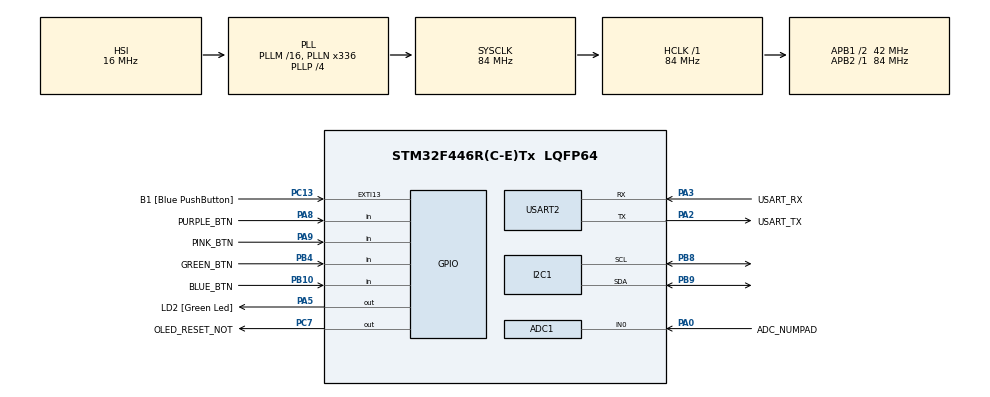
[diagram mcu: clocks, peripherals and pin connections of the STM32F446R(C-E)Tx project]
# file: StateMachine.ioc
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ADC1.Channel-0\#ChannelRegularConversion=ADC_CHANNEL_0
ADC1.NbrOfConversionFlag=1
ADC1.Rank-0\#ChannelRegularConversion=1
ADC1.SamplingTime-0\#ChannelRegularConversion=ADC_SAMPLETIME_3CYCLES
ADC1.ScanConvMode=DISABLE
ADC1.master=1
Dma.ADC1.0.Direction=DMA_PERIPH_TO_MEMORY
Dma.ADC1.0.FIFOMode=DMA_FIFOMODE_DISABLE
Dma.ADC1.0.Instance=DMA2_Stream0
Dma.ADC1.0.MemDataAlignment=DMA_MDATAALIGN_HALFWORD
Dma.ADC1.0.MemInc=DMA_MINC_ENABLE
Dma.ADC1.0.Mode=DMA_NORMAL
Dma.ADC1.0.PeriphDataAlignment=DMA_PDATAALIGN_HALFWORD
Dma.ADC1.0.PeriphInc=DMA_PINC_DISABLE
Dma.ADC1.0.Priority=DMA_PRIORITY_LOW
Dma.Request0=ADC1
Dma.Request1=USART2_RX
Dma.USART2_RX.1.Direction=DMA_PERIPH_TO_MEMORY
Dma.USART2_RX.1.FIFOMode=DMA_FIFOMODE_DISABLE
Dma.USART2_RX.1.Instance=DMA1_Stream5
Dma.USART2_RX.1.MemDataAlignment=DMA_MDATAALIGN_BYTE
Dma.USART2_RX.1.MemInc=DMA_MINC_ENABLE
Dma.USART2_RX.1.Mode=DMA_CIRCULAR
Dma.USART2_RX.1.PeriphDataAlignment=DMA_PDATAALIGN_BYTE
Dma.USART2_RX.1.PeriphInc=DMA_PINC_DISABLE
Dma.USART2_RX.1.Priority=DMA_PRIORITY_MEDIUM
Mcu.Family=STM32F4
Mcu.Name=STM32F446R(C-E)Tx
Mcu.Package=LQFP64
NVIC.ADC_IRQn=true\:0\:0\:false\:false\:true\:true\:true\:true
NVIC.DMA1_Stream5_IRQn=true\:0\:0\:false\:false\:true\:false\:true\:true
NVIC.DMA2_Stream0_IRQn=true\:0\:0\:false\:false\:true\:false\:true\:true
NVIC.PriorityGroup=NVIC_PRIORITYGROUP_0
NVIC.TIM5_IRQn=true\:0\:0\:false\:false\:true\:true\:true\:true
PA0-WKUP.GPIO_Label=ADC_NUMPAD
PA0-WKUP.Signal=ADCx_IN0
PA13.GPIO_Label=TMS
PA13.Mode=Serial_Wire
PA13.Signal=SYS_JTMS-SWDIO
PA14.GPIO_Label=TCK
PA14.Mode=Serial_Wire
PA14.Signal=SYS_JTCK-SWCLK
PA2.GPIO_Label=USART_TX
PA2.Mode=Asynchronous
PA2.Signal=USART2_TX
PA3.GPIO_Label=USART_RX
PA3.Mode=Asynchronous
PA3.Signal=USART2_RX
PA5.GPIO_Label=LD2 [Green Led]
PA5.Signal=GPIO_Output
PA8.GPIO_Label=PURPLE_BTN
PA8.GPIO_PuPd=GPIO_PULLDOWN
PA8.Signal=GPIO_Input
PA9.GPIO_Label=PINK_BTN
PA9.GPIO_PuPd=GPIO_PULLDOWN
PA9.Signal=GPIO_Input
PB10.GPIO_Label=BLUE_BTN
PB10.GPIO_PuPd=GPIO_PULLDOWN
PB10.Signal=GPIO_Input
PB3.GPIO_Label=SWO
PB3.Signal=SYS_JTDO-SWO
PB4.GPIO_Label=GREEN_BTN
PB4.GPIO_PuPd=GPIO_PULLDOWN
PB4.Signal=GPIO_Input
PB8.Mode=I2C
PB8.Signal=I2C1_SCL
PB9.Mode=I2C
PB9.Signal=I2C1_SDA
PC13.GPIO_Label=B1 [Blue PushButton]
PC13.GPIO_ModeDefaultEXTI=GPIO_MODE_IT_FALLING
PC13.Signal=GPXTI13
PC14-OSC32_IN.Mode=LSE-External-Oscillator
PC14-OSC32_IN.Signal=RCC_OSC32_IN
PC15-OSC32_OUT.Mode=LSE-External-Oscillator
PC15-OSC32_OUT.Signal=RCC_OSC32_OUT
PC7.GPIO_Label=OLED_RESET_NOT
PC7.Signal=GPIO_Output
PH0-OSC_IN.Mode=HSE-External-Oscillator
PH0-OSC_IN.Signal=RCC_OSC_IN
PH1-OSC_OUT.Mode=HSE-External-Oscillator
PH1-OSC_OUT.Signal=RCC_OSC_OUT
ProjectManager.HeapSize=0x200
ProjectManager.StackSize=0x400
ProjectManager.TargetToolchain=STM32CubeIDE
RCC.48MHZClocksFreq_Value=84000000
RCC.AHBFreq_Value=84000000
RCC.APB1CLKDivider=RCC_HCLK_DIV2
RCC.APB1Freq_Value=42000000
RCC.APB1TimFreq_Value=84000000
RCC.APB2Freq_Value=84000000
RCC.APB2TimFreq_Value=84000000
RCC.CortexFreq_Value=84000000
RCC.FLatency-AdvancedSettings=FLASH_LATENCY_2
RCC.HCLKFreq_Value=84000000
RCC.HSE_VALUE=8000000
RCC.HSI_VALUE=16000000
RCC.PLLN=336
RCC.PLLP=RCC_PLLP_DIV4
RCC.SYSCLKFreq_VALUE=84000000
RCC.SYSCLKSource=RCC_SYSCLKSOURCE_PLLCLK
RCC.USBFreq_Value=168000000
RCC.VCOOutputFreq_Value=336000000
SH.ADCx_IN0.0=ADC1_IN0,IN0
TIM5.AutoReloadPreload=TIM_AUTORELOAD_PRELOAD_ENABLE
TIM5.Period=10000-1
TIM5.Prescaler=84-1
USART2.VirtualMode=VM_ASYNC
VP_TIM5_VS_ClockSourceINT.Mode=Internal
board=NUCLEO-F446RE

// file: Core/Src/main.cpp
/* USER CODE BEGIN Header */
/**
  ******************************************************************************
  * @file           : main.c
  * @brief          : Main program body
  ******************************************************************************
  * @attention
  *
  * Copyright (c) 2025 STMicroelectronics.
  * All rights reserved.
  *
  * This software is licensed under terms that can be found in the LICENSE file
  * in the root directory of this software component.
  * If no LICENSE file comes with this software, it is provided AS-IS.
  *
  ******************************************************************************
  */
/* USER CODE END Header */
#include "main.h"

/* USER CODE BEGIN Includes */
#include "SSD1305.hpp"
#include "state_machine.hpp"
#include <stdio.h>
#include "memory.hpp"

#include "Shellminator.hpp"
#include "Serial.hpp"

#include "ICM2098.hpp"
/* USER CODE END Includes */

/* USER CODE BEGIN PD */
#define dmaCyclerTimer htim5
#define configedADC hadc1
#define EEPROMAddress 0x50

/* USER CODE END PD */

ADC_HandleTypeDef hadc1;
DMA_HandleTypeDef hdma_adc1;

I2C_HandleTypeDef hi2c1;

TIM_HandleTypeDef htim5;

UART_HandleTypeDef huart2;
DMA_HandleTypeDef hdma_usart2_rx;

/* USER CODE BEGIN PV */
Serial usart2( &huart2 );
Shellminator shell( &usart2 );
/* USER CODE END PV */

void SystemClock_Config(void);
static void MX_GPIO_Init(void);
static void MX_DMA_Init(void);
static void MX_USART2_UART_Init(void);
static void MX_ADC1_Init(void);
static void MX_TIM5_Init(void);
static void MX_I2C1_Init(void);

int main(void)
{

  /* MCU Configuration--------------------------------------------------------*/

  /* Reset of all peripherals, Initializes the Flash interface and the Systick. */
  HAL_Init();

  /* Configure the system clock */
  SystemClock_Config();

  /* Initialize all configured peripherals */
  MX_GPIO_Init();
  MX_DMA_Init();
  MX_USART2_UART_Init();
  MX_ADC1_Init();
  MX_TIM5_Init();
  MX_I2C1_Init();
  /* USER CODE BEGIN 2 */
  //Memory init
  memoryElement elementList[9] =
  {
      {"MS1_fixAx", i8},
      {"MS1_trackAx", i8},
      {"MS1_setDeg", i16},

	  {"MS2_fixAx", i8},
      {"MS2_trackAx", i8},
      {"MS2_setDeg", i16},

	  {"MS3_fixAx", i8},
      {"MS3_trackAx", i8},
      {"MS3_setDeg", i16},
  };

  //deleteRegion(&hi2c1, EEPROMAddress, 0, 128);
  EEPROMmemory myEEPROM(elementList, 9, EEPROMAddress, &hi2c1);

  /* USER CODE END 2 */

  /* Infinite loop */
  /* USER CODE BEGIN WHILE */

  Accelerometer dummyAccel;
  State_Settings state_Settings;
  State_SelectMemory state_SelectMemory;
  getMemorySlotFromEEPROM(&state_Settings.currentMemorySlot, 1, &myEEPROM);

  numpadEnable();
  HAL_GPIO_WritePin(OLED_RESET_NOT_GPIO_Port, OLED_RESET_NOT_Pin, GPIO_PIN_SET);

  SSD1305 display(&hi2c1, 0x3C, 128, 32);
  display.Init();
  display.Fill(Black);

  //ACCEL

  uint8_t icm_addr = 0x69;   // vagy 0x69, ha AD0 high
  HAL_StatusTypeDef status;
  uint8_t data;

  //Bank2
  data = 0x20; // Bank 2
  HAL_I2C_Mem_Write(&hi2c1, icm_addr << 1, ICM20948_REG_BANK_SEL, 1, &data, 1, HAL_TIMEOUT);

  //FS = +/-2G
  uint8_t AccelConfig = 0;
  uint8_t AccelConfigTest = 0;
  HAL_I2C_Mem_Read(&hi2c1, icm_addr << 1, ICM20948_REG_ACCEL_CONFIG, 1, &AccelConfig, 1, HAL_TIMEOUT);

  /*AccelConfig &= 0b11111001;
  AccelConfig |= 0x6<<3;
  AccelConfig |= 0b00<<1;*/
  AccelConfig = 0x00;

  HAL_I2C_Mem_Write(&hi2c1, icm_addr << 1, ICM20948_REG_ACCEL_CONFIG, 1, &AccelConfig, 1, HAL_TIMEOUT);
  HAL_I2C_Mem_Read(&hi2c1, icm_addr << 1, ICM20948_REG_ACCEL_CONFIG, 1, &AccelConfigTest, 1, HAL_TIMEOUT);

  //Bank0
  data = 0x00; // Bank 0
  HAL_I2C_Mem_Write(&hi2c1, icm_addr << 1, ICM20948_REG_BANK_SEL, 1, &data, 1, HAL_TIMEOUT);

  //ReadAccelX
  uint8_t accel_x[2];
  int16_t accelRaw = 0;
  float accel;
  float scale = 16384.0f;

  HAL_I2C_Mem_Read(&hi2c1, icm_addr << 1, ICM20948_REG_ACCEL_XOUT_H, 1, accel_x, 2, HAL_TIMEOUT);

  accelRaw = (int16_t)((accel_x[0] << 8) | accel_x[1]);
  accel = ((float)accelRaw)/(scale);
  char msg[30];

  while(true)
  {
	  HAL_I2C_Mem_Read(&hi2c1, icm_addr << 1, ICM20948_REG_ACCEL_XOUT_H, 1, accel_x, 2, HAL_TIMEOUT);

	  accelRaw = (int16_t)((accel_x[0] << 8) | accel_x[1]);
	  accel = ((float)accelRaw)/(scale);

	snprintf(msg, sizeof(msg), "%+05.3f", accel);
	display.SetCursor(0, 0);
	display.WriteString(msg, Font_7x10, White);
	display.WriteBitmapToScreen();
  }

  //ACCEL

  StateMachine machine(&state_SelectMemory, &state_Settings, &state_SelectMemory, &display, &dummyAccel, &myEEPROM);

  //Memory init end

  usart2.begin( 115200 );
  shell.clear();
  shell.begin( "stm32" );
  while (1)
  {
	  machine.run();
	  shell.update();
	  HAL_GPIO_TogglePin(LD2_GPIO_Port, LD2_Pin);

    /* USER CODE END WHILE */

  }
}

void SystemClock_Config(void)
{
  RCC_OscInitTypeDef RCC_OscInitStruct = {0};
  RCC_ClkInitTypeDef RCC_ClkInitStruct = {0};

  /** Configure the main internal regulator output voltage
  */
  __HAL_RCC_PWR_CLK_ENABLE();
  __HAL_PWR_VOLTAGESCALING_CONFIG(PWR_REGULATOR_VOLTAGE_SCALE3);

  /** Initializes the RCC Oscillators according to the specified parameters
  * in the RCC_OscInitTypeDef structure.
  */
  RCC_OscInitStruct.OscillatorType = RCC_OSCILLATORTYPE_HSI;
  RCC_OscInitStruct.HSIState = RCC_HSI_ON;
  RCC_OscInitStruct.HSICalibrationValue = RCC_HSICALIBRATION_DEFAULT;
  RCC_OscInitStruct.PLL.PLLState = RCC_PLL_ON;
  RCC_OscInitStruct.PLL.PLLSource = RCC_PLLSOURCE_HSI;
  RCC_OscInitStruct.PLL.PLLM = 16;
  RCC_OscInitStruct.PLL.PLLN = 336;
  RCC_OscInitStruct.PLL.PLLP = RCC_PLLP_DIV4;
  RCC_OscInitStruct.PLL.PLLQ = 2;
  RCC_OscInitStruct.PLL.PLLR = 2;
  if (HAL_RCC_OscConfig(&RCC_OscInitStruct) != HAL_OK)
  {
    Error_Handler();
  }

  /** Initializes the CPU, AHB and APB buses clocks
  */
  RCC_ClkInitStruct.ClockType = RCC_CLOCKTYPE_HCLK|RCC_CLOCKTYPE_SYSCLK
                              |RCC_CLOCKTYPE_PCLK1|RCC_CLOCKTYPE_PCLK2;
  RCC_ClkInitStruct.SYSCLKSource = RCC_SYSCLKSOURCE_PLLCLK;
  RCC_ClkInitStruct.AHBCLKDivider = RCC_SYSCLK_DIV1;
  RCC_ClkInitStruct.APB1CLKDivider = RCC_HCLK_DIV2;
  RCC_ClkInitStruct.APB2CLKDivider = RCC_HCLK_DIV1;

  if (HAL_RCC_ClockConfig(&RCC_ClkInitStruct, FLASH_LATENCY_2) != HAL_OK)
  {
    Error_Handler();
  }
}

static void MX_ADC1_Init(void)
{

  ADC_ChannelConfTypeDef sConfig = {0};

  /** Configure the global features of the ADC (Clock, Resolution, Data Alignment and number of conversion)
  */
  hadc1.Instance = ADC1;
  hadc1.Init.ClockPrescaler = ADC_CLOCK_SYNC_PCLK_DIV4;
  hadc1.Init.Resolution = ADC_RESOLUTION_12B;
  hadc1.Init.ScanConvMode = DISABLE;
  hadc1.Init.ContinuousConvMode = DISABLE;
  hadc1.Init.DiscontinuousConvMode = DISABLE;
  hadc1.Init.ExternalTrigConvEdge = ADC_EXTERNALTRIGCONVEDGE_NONE;
  hadc1.Init.ExternalTrigConv = ADC_SOFTWARE_START;
  hadc1.Init.DataAlign = ADC_DATAALIGN_RIGHT;
  hadc1.Init.NbrOfConversion = 1;
  hadc1.Init.DMAContinuousRequests = DISABLE;
  hadc1.Init.EOCSelection = ADC_EOC_SINGLE_CONV;
  if (HAL_ADC_Init(&hadc1) != HAL_OK)
  {
    Error_Handler();
  }

  /** Configure for the selected ADC regular channel its corresponding rank in the sequencer and its sample time.
  */
  sConfig.Channel = ADC_CHANNEL_0;
  sConfig.Rank = 1;
  sConfig.SamplingTime = ADC_SAMPLETIME_3CYCLES;
  if (HAL_ADC_ConfigChannel(&hadc1, &sConfig) != HAL_OK)
  {
    Error_Handler();
  }

}

static void MX_I2C1_Init(void)
{

  hi2c1.Instance = I2C1;
  hi2c1.Init.ClockSpeed = 100000;
  hi2c1.Init.DutyCycle = I2C_DUTYCYCLE_2;
  hi2c1.Init.OwnAddress1 = 0;
  hi2c1.Init.AddressingMode = I2C_ADDRESSINGMODE_7BIT;
  hi2c1.Init.DualAddressMode = I2C_DUALADDRESS_DISABLE;
  hi2c1.Init.OwnAddress2 = 0;
  hi2c1.Init.GeneralCallMode = I2C_GENERALCALL_DISABLE;
  hi2c1.Init.NoStretchMode = I2C_NOSTRETCH_DISABLE;
  if (HAL_I2C_Init(&hi2c1) != HAL_OK)
  {
    Error_Handler();
  }

}

static void MX_TIM5_Init(void)
{

  TIM_ClockConfigTypeDef sClockSourceConfig = {0};
  TIM_MasterConfigTypeDef sMasterConfig = {0};

  htim5.Instance = TIM5;
  htim5.Init.Prescaler = 84-1;
  htim5.Init.CounterMode = TIM_COUNTERMODE_UP;
  htim5.Init.Period = 10000-1;
  htim5.Init.ClockDivision = TIM_CLOCKDIVISION_DIV1;
  htim5.Init.AutoReloadPreload = TIM_AUTORELOAD_PRELOAD_ENABLE;
  if (HAL_TIM_Base_Init(&htim5) != HAL_OK)
  {
    Error_Handler();
  }
  sClockSourceConfig.ClockSource = TIM_CLOCKSOURCE_INTERNAL;
  if (HAL_TIM_ConfigClockSource(&htim5, &sClockSourceConfig) != HAL_OK)
  {
    Error_Handler();
  }
  sMasterConfig.MasterOutputTrigger = TIM_TRGO_RESET;
  sMasterConfig.MasterSlaveMode = TIM_MASTERSLAVEMODE_DISABLE;
  if (HAL_TIMEx_MasterConfigSynchronization(&htim5, &sMasterConfig) != HAL_OK)
  {
    Error_Handler();
  }

}

static void MX_USART2_UART_Init(void)
{

  huart2.Instance = USART2;
  huart2.Init.BaudRate = 115200;
  huart2.Init.WordLength = UART_WORDLENGTH_8B;
  huart2.Init.StopBits = UART_STOPBITS_1;
  huart2.Init.Parity = UART_PARITY_NONE;
  huart2.Init.Mode = UART_MODE_TX_RX;
  huart2.Init.HwFlowCtl = UART_HWCONTROL_NONE;
  huart2.Init.OverSampling = UART_OVERSAMPLING_16;
  if (HAL_UART_Init(&huart2) != HAL_OK)
  {
    Error_Handler();
  }

}

static void MX_DMA_Init(void)
{

  /* DMA controller clock enable */
  __HAL_RCC_DMA2_CLK_ENABLE();
  __HAL_RCC_DMA1_CLK_ENABLE();

  /* DMA interrupt init */
  /* DMA1_Stream5_IRQn interrupt configuration */
  HAL_NVIC_SetPriority(DMA1_Stream5_IRQn, 0, 0);
  HAL_NVIC_EnableIRQ(DMA1_Stream5_IRQn);
  /* DMA2_Stream0_IRQn interrupt configuration */
  HAL_NVIC_SetPriority(DMA2_Stream0_IRQn, 0, 0);
  HAL_NVIC_EnableIRQ(DMA2_Stream0_IRQn);

}

static void MX_GPIO_Init(void)
{
  GPIO_InitTypeDef GPIO_InitStruct = {0};

  /* GPIO Ports Clock Enable */
  __HAL_RCC_GPIOC_CLK_ENABLE();
  __HAL_RCC_GPIOH_CLK_ENABLE();
  __HAL_RCC_GPIOA_CLK_ENABLE();
  __HAL_RCC_GPIOB_CLK_ENABLE();

  /*Configure GPIO pin Output Level */
  HAL_GPIO_WritePin(LD2_GPIO_Port, LD2_Pin, GPIO_PIN_RESET);

  /*Configure GPIO pin Output Level */
  HAL_GPIO_WritePin(OLED_RESET_NOT_GPIO_Port, OLED_RESET_NOT_Pin, GPIO_PIN_RESET);

  /*Configure GPIO pin : B1_Pin */
  GPIO_InitStruct.Pin = B1_Pin;
  GPIO_InitStruct.Mode = GPIO_MODE_IT_FALLING;
  GPIO_InitStruct.Pull = GPIO_NOPULL;
  HAL_GPIO_Init(B1_GPIO_Port, &GPIO_InitStruct);

  /*Configure GPIO pin : LD2_Pin */
  GPIO_InitStruct.Pin = LD2_Pin;
  GPIO_InitStruct.Mode = GPIO_MODE_OUTPUT_PP;
  GPIO_InitStruct.Pull = GPIO_NOPULL;
  GPIO_InitStruct.Speed = GPIO_SPEED_FREQ_LOW;
  HAL_GPIO_Init(LD2_GPIO_Port, &GPIO_InitStruct);

  /*Configure GPIO pins : BLUE_BTN_Pin GREEN_BTN_Pin */
  GPIO_InitStruct.Pin = BLUE_BTN_Pin|GREEN_BTN_Pin;
  GPIO_InitStruct.Mode = GPIO_MODE_INPUT;
  GPIO_InitStruct.Pull = GPIO_PULLDOWN;
  HAL_GPIO_Init(GPIOB, &GPIO_InitStruct);

  /*Configure GPIO pin : OLED_RESET_NOT_Pin */
  GPIO_InitStruct.Pin = OLED_RESET_NOT_Pin;
  GPIO_InitStruct.Mode = GPIO_MODE_OUTPUT_PP;
  GPIO_InitStruct.Pull = GPIO_NOPULL;
  GPIO_InitStruct.Speed = GPIO_SPEED_FREQ_LOW;
  HAL_GPIO_Init(OLED_RESET_NOT_GPIO_Port, &GPIO_InitStruct);

  /*Configure GPIO pins : PURPLE_BTN_Pin PINK_BTN_Pin */
  GPIO_InitStruct.Pin = PURPLE_BTN_Pin|PINK_BTN_Pin;
  GPIO_InitStruct.Mode = GPIO_MODE_INPUT;
  GPIO_InitStruct.Pull = GPIO_PULLDOWN;
  HAL_GPIO_Init(GPIOA, &GPIO_InitStruct);

}

void Error_Handler(void)
{
  __disable_irq();
  while (1)
  {
  }
}
